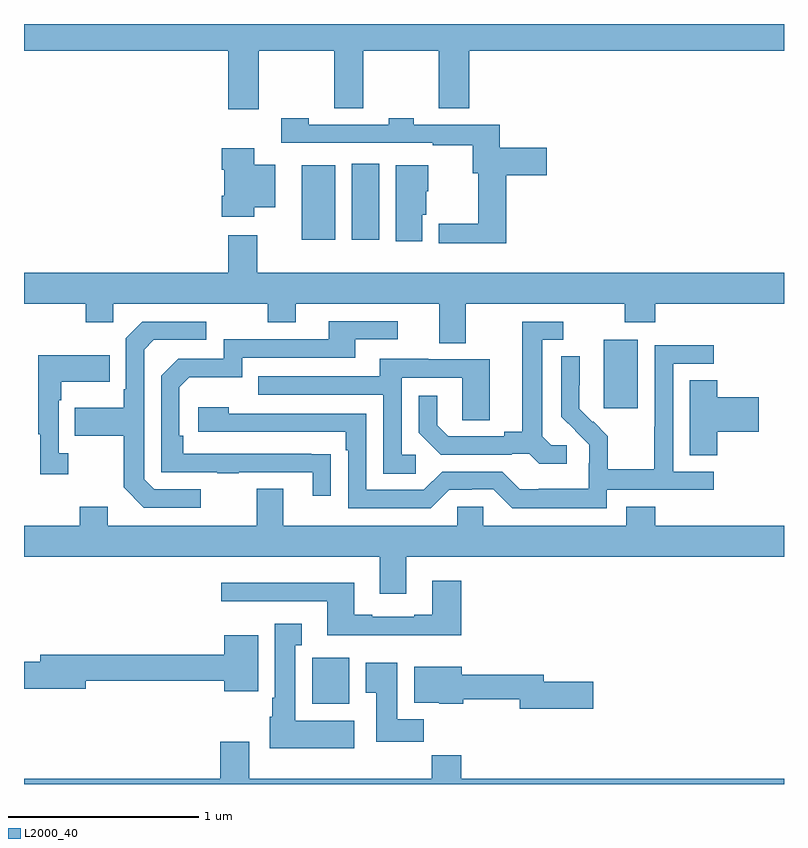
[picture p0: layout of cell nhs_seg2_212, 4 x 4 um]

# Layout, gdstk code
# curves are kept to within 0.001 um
import gdstk
lib = gdstk.Library(unit=1e-6, precision=1e-09)
def R(c, l, rs):  # rectangles x0, y0, x1, y1
    for r in rs: c.add(gdstk.rectangle(r[:2], r[2:], *l))
def P(c, l, *ps):  # polygons
    for p in ps: c.add(gdstk.Polygon(p, *l))
L2000_40 = (2000, 40)

nhs_seg2_212 = lib.new_cell('nhs_seg2_212')
R(nhs_seg2_212, L2000_40, [(122.516,620.222,122.713,620.464), (124.052,621.777,124.231,622.138), (122.462,622.664,122.638,623.056), (122.726,622.664,122.869,623.065)])
P(nhs_seg2_212, L2000_40, [(122.235,623.66),(122.632,623.66),(122.632,623.356),(122.786,623.356),(122.786,623.66),(123.184,623.66),(123.184,623.356),(123.344,623.356),(123.344,623.66),(125,623.66),(125,623.8),(121,623.8),(121,623.66),(122.075,623.66),(122.075,623.352),(122.235,623.352)],
  [(123.539,623.003),(123.751,623.003),(123.751,623.15),(123.503,623.15),(123.503,623.271),(123.051,623.271),(123.051,623.304),(122.919,623.304),(122.919,623.271),(122.499,623.271),(122.499,623.304),(122.355,623.304),(122.355,623.175),(123.151,623.175),(123.151,623.163),(123.362,623.163),(123.362,623.015),(123.392,623.015),(123.392,622.748),(123.183,622.748),(123.183,622.646),(123.539,622.646)],
  [(122.212,622.835),(122.323,622.835),(122.323,623.059),(122.212,623.059),(122.212,623.146),(122.042,623.146),(122.042,623.033),(122.054,623.033),(122.054,622.897),(122.042,622.897),(122.042,622.785),(122.212,622.785)],
  [(123.097,622.797),(123.118,622.797),(123.118,622.92),(123.127,622.92),(123.127,623.056),(122.957,623.056),(122.957,622.656),(123.097,622.656)],
  [(123.325,622.328),(124.162,622.328),(124.162,622.229),(124.322,622.229),(124.322,622.328),(125,622.328),(125,622.492),(122.227,622.492),(122.227,622.687),(122.075,622.687),(122.075,622.492),(121,622.492),(121,622.328),(121.324,622.328),(121.324,622.229),(121.47,622.229),(121.47,622.328),(122.284,622.328),(122.284,622.229),(122.431,622.229),(122.431,622.328),(123.185,622.328),(123.185,622.12),(123.325,622.12)],
  [(122.615,621.536),(121.838,621.537),(121.838,621.634),(121.818,621.634),(121.818,621.888),(121.871,621.941),(122.148,621.941),(122.148,622.044),(122.743,622.044),(122.743,622.14),(122.968,622.14),(122.968,622.236),(122.603,622.236),(122.603,622.14),(122.052,622.14),(122.052,622.038),(121.812,622.038),(121.722,621.948),(121.722,621.441),(122.017,621.441),(122.017,621.436),(122.129,621.436),(122.129,621.441),(122.519,621.441),(122.519,621.318),(122.615,621.318)],
  [(121.93,621.351),(121.686,621.351),(121.632,621.405),(121.632,622.086),(121.683,622.137),(121.96,622.137),(121.96,622.233),(121.623,622.233),(121.536,622.146),(121.536,621.877),(121.524,621.877),(121.524,621.781),(121.267,621.781),(121.267,621.634),(121.524,621.634),(121.524,621.361),(121.629,621.255),(121.93,621.255)],
  [(123.856,621.582),(123.774,621.582),(123.727,621.629),(123.727,622.137),(123.838,622.137),(123.838,622.233),(123.623,622.233),(123.623,621.653),(123.527,621.653),(123.527,621.63),(123.232,621.63),(123.175,621.687),(123.175,621.844),(123.078,621.844),(123.078,621.65),(123.194,621.534),(123.566,621.534),(123.566,621.537),(123.66,621.537),(123.712,621.485),(123.856,621.485)],
  [(124.068,621.348),(124.63,621.348),(124.63,621.444),(124.416,621.444),(124.416,622.011),(124.63,622.011),(124.63,622.11),(124.32,622.11),(124.32,621.68),(124.318,621.68),(124.318,621.457),(124.073,621.457),(124.073,621.631),(123.996,621.708),(123.993,621.705),(123.923,621.776),(123.924,622.052),(123.828,622.052),(123.828,621.734),(123.974,621.586),(123.974,621.489),(123.972,621.489),(123.972,621.355),(123.709,621.355),(123.709,621.351),(123.609,621.351),(123.516,621.444),(123.201,621.444),(123.105,621.348),(122.802,621.348),(122.802,621.75),(122.078,621.75),(122.078,621.784),(121.917,621.784),(121.917,621.654),(122.693,621.654),(122.693,621.557),(122.706,621.557),(122.706,621.252),(123.141,621.252),(123.237,621.348),(123.356,621.348),(123.356,621.351),(123.471,621.351),(123.571,621.251),(124.068,621.251)],
  [(121.234,621.542),(121.182,621.542),(121.182,621.821),(121.195,621.821),(121.195,621.917),(121.451,621.917),(121.451,622.057),(121.074,622.057),(121.074,621.641),(121.085,621.641),(121.085,621.429),(121.234,621.429)],
  [(123.061,621.534),(122.988,621.534),(122.988,621.939),(123.306,621.939),(123.306,621.715),(123.451,621.715),(123.451,622.035),(123.127,622.035),(123.127,622.039),(122.873,622.039),(122.873,621.945),(122.233,621.945),(122.233,621.849),(122.892,621.849),(122.892,621.433),(123.061,621.433)],
  [(124.649,621.653),(124.867,621.653),(124.867,621.836),(124.649,621.836),(124.649,621.926),(124.505,621.926),(124.505,621.529),(124.649,621.529)],
  [(123.013,620.996),(125,620.996),(125,621.16),(124.322,621.16),(124.322,621.259),(124.169,621.259),(124.169,621.16),(123.417,621.16),(123.417,621.258),(123.279,621.258),(123.279,621.16),(122.365,621.16),(122.365,621.355),(122.225,621.355),(122.225,621.16),(121.441,621.16),(121.441,621.259),(121.294,621.259),(121.294,621.16),(121,621.16),(121,620.996),(122.873,620.996),(122.873,620.802),(123.013,620.802)],
  [(123.302,620.869),(123.149,620.869),(123.149,620.692),(123.053,620.692),(123.053,620.679),(122.833,620.679),(122.833,620.692),(122.737,620.692),(122.737,620.86),(122.037,620.86),(122.037,620.763),(122.597,620.763),(122.597,620.582),(123.302,620.582)],
  [(122.737,620.134),(122.428,620.134),(122.428,620.531),(122.461,620.531),(122.461,620.644),(122.321,620.644),(122.321,620.254),(122.306,620.254),(122.306,620.154),(122.294,620.154),(122.294,619.988),(122.737,619.988)],
  [(122.233,620.584),(122.054,620.584),(122.054,620.48),(121.085,620.48),(121.085,620.444),(121,620.444),(121,620.302),(121.324,620.302),(121.324,620.344),(122.054,620.344),(122.054,620.288),(122.233,620.288)],
  [(123.104,620.14),(122.965,620.14),(122.965,620.437),(122.798,620.437),(122.798,620.281),(122.855,620.281),(122.855,620.022),(123.104,620.022)],
  [(123.997,620.339),(123.736,620.339),(123.736,620.375),(123.304,620.375),(123.304,620.416),(123.053,620.416),(123.053,620.228),(123.186,620.228),(123.186,620.222),(123.312,620.222),(123.312,620.247),(123.608,620.247),(123.608,620.197),(123.997,620.197)],
  [(125,619.828),(123.302,619.828),(123.302,619.952),(123.145,619.952),(123.145,619.828),(122.185,619.828),(122.185,620.023),(122.033,620.023),(122.033,619.828),(121,619.828),(121,619.8),(125,619.8)])

lib.write_gds('nhs_seg2_212.gds')
